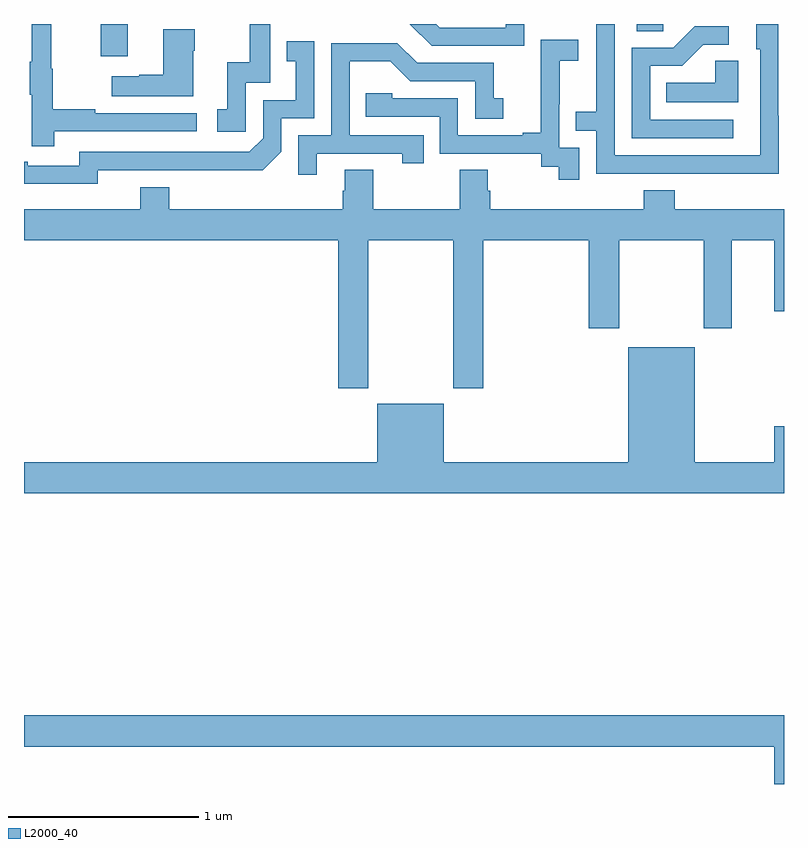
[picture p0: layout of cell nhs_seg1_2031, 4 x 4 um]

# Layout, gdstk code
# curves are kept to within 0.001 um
import gdstk
lib = gdstk.Library(unit=1e-6, precision=1e-09)
def R(c, l, rs):  # rectangles x0, y0, x1, y1
    for r in rs: c.add(gdstk.rectangle(r[:2], r[2:], *l))
def P(c, l, *ps):  # polygons
    for p in ps: c.add(gdstk.Polygon(p, *l))
L2000_40 = (2000, 40)

nhs_seg1_2031 = lib.new_cell('nhs_seg1_2031')
R(nhs_seg1_2031, L2000_40, [(221.405,558.03,221.545,558.199), (224.225,558.16,224.364,558.199)])
P(nhs_seg1_2031, L2000_40, [(221.159,557.634),(221.908,557.634),(221.908,557.73),(221.375,557.73),(221.375,557.75),(221.152,557.75),(221.152,557.964),(221.144,557.964),(221.144,558.199),(221.042,558.199),(221.042,558.001),(221.031,558.001),(221.031,557.827),(221.042,557.827),(221.042,557.556),(221.159,557.556)],
  [(224.973,557.717),(224.97,557.717),(224.97,558.199),(224.855,558.199),(224.855,558.066),(224.874,558.066),(224.874,557.508),(224.109,557.508),(224.109,558.199),(224.013,558.199),(224.013,557.738),(223.903,557.738),(223.903,557.637),(224.013,557.637),(224.013,557.412),(224.509,557.412),(224.509,557.411),(224.973,557.411)],
  [(223.632,558.199),(223.535,558.199),(223.535,558.18),(223.188,558.18),(223.169,558.199),(223.031,558.199),(223.146,558.084),(223.632,558.084)],
  [(222.168,557.889),(222.297,557.889),(222.297,558.199),(222.189,558.199),(222.189,557.998),(222.071,557.998),(222.071,557.751),(222.018,557.751),(222.018,557.631),(222.168,557.631)],
  [(224.734,557.694),(224.295,557.694),(224.295,557.979),(224.464,557.979),(224.575,558.09),(224.71,558.09),(224.71,558.188),(224.531,558.188),(224.418,558.075),(224.199,558.075),(224.199,557.598),(224.734,557.598)],
  [(221.89,558.059),(221.898,558.059),(221.898,558.172),(221.732,558.172),(221.732,557.933),(221.606,557.933),(221.606,557.923),(221.463,557.923),(221.463,557.819),(221.89,557.819)],
  [(223.923,557.547),(223.818,557.547),(223.818,557.777),(223.82,557.777),(223.82,558.005),(223.918,558.005),(223.918,558.115),(223.72,558.115),(223.72,557.909),(223.721,557.909),(223.721,557.626),(223.625,557.626),(223.625,557.613),(223.284,557.613),(223.284,557.808),(222.939,557.808),(222.939,557.835),(222.799,557.835),(222.799,557.712),(223.188,557.712),(223.188,557.517),(223.722,557.517),(223.722,557.449),(223.815,557.449),(223.815,557.379),(223.923,557.379)],
  [(221.388,557.43),(222.256,557.429),(222.354,557.526),(222.354,557.703),(222.528,557.703),(222.528,558.109),(222.382,558.109),(222.382,558.003),(222.431,558.003),(222.431,557.799),(222.258,557.799),(222.258,557.598),(222.186,557.526),(221.292,557.526),(221.292,557.454),(221.02,557.454),(221.02,557.474),(221,557.474),(221,557.358),(221.388,557.357)],
  [(222.541,557.517),(222.992,557.517),(222.992,557.466),(223.103,557.466),(223.103,557.613),(222.714,557.613),(222.714,558.002),(222.928,558.002),(223.032,557.898),(223.374,557.898),(223.374,557.7),(223.522,557.7),(223.522,557.809),(223.473,557.809),(223.473,557.994),(223.069,557.994),(222.964,558.099),(222.618,558.099),(222.618,557.613),(222.444,557.613),(222.444,557.406),(222.541,557.406)],
  [(224.758,558.005),(224.637,558.005),(224.637,557.89),(224.38,557.89),(224.38,557.786),(224.758,557.786)],
  [(222.837,557.432),(222.689,557.432),(222.689,557.322),(222.677,557.322),(222.677,557.224),(221.765,557.224),(221.765,557.341),(221.612,557.341),(221.612,557.224),(221,557.224),(221,557.06),(222.653,557.06),(222.653,556.281),(222.813,556.281),(222.813,557.06),(223.258,557.06),(223.258,556.281),(223.418,556.281),(223.418,557.06),(223.973,557.06),(223.973,556.599),(224.133,556.599),(224.133,557.06),(224.578,557.06),(224.578,556.599),(224.725,556.599),(224.725,557.06),(224.948,557.06),(224.948,556.686),(225,556.686),(225,557.224),(224.426,557.224),(224.426,557.323),(224.261,557.323),(224.261,557.224),(223.454,557.224),(223.454,557.322),(223.441,557.322),(223.441,557.432),(223.294,557.432),(223.294,557.224),(222.837,557.224)],
  [(225,556.081),(224.948,556.081),(224.948,555.892),(224.53,555.892),(224.53,556.498),(224.18,556.498),(224.18,555.892),(223.21,555.892),(223.21,556.201),(222.86,556.201),(222.86,555.892),(221,555.892),(221,555.728),(225,555.728)],
  [(225,554.56),(221,554.56),(221,554.396),(224.948,554.396),(224.948,554.199),(225,554.199)])

lib.write_gds('nhs_seg1_2031.gds')
